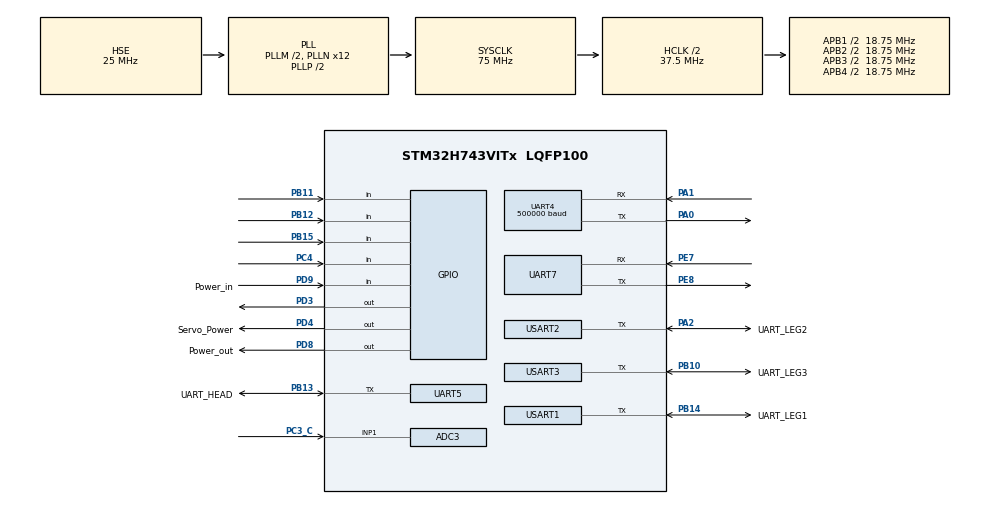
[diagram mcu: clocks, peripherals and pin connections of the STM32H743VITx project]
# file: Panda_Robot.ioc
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ADC3.Channel-7\#ChannelRegularConversion=ADC_CHANNEL_1
ADC3.ContinuousConvMode=ENABLE
ADC3.NbrOfConversionFlag=1
ADC3.OffsetNumber-7\#ChannelRegularConversion=ADC_OFFSET_NONE
ADC3.OffsetSignedSaturation-7\#ChannelRegularConversion=DISABLE
ADC3.Rank-7\#ChannelRegularConversion=1
ADC3.SamplingTime-7\#ChannelRegularConversion=ADC_SAMPLETIME_1CYCLE_5
Dma.Request0=USART3_RX
Dma.Request1=UART4_RX
Dma.Request10=UART7_RX
Dma.Request11=UART7_TX
Dma.Request2=UART4_TX
Dma.Request3=USART1_RX
Dma.Request4=USART1_TX
Dma.Request5=UART5_RX
Dma.Request6=UART5_TX
Dma.Request7=USART3_TX
Dma.Request8=USART2_RX
Dma.Request9=USART2_TX
Dma.UART4_RX.1.Direction=DMA_PERIPH_TO_MEMORY
Dma.UART4_RX.1.EventEnable=DISABLE
Dma.UART4_RX.1.FIFOMode=DMA_FIFOMODE_DISABLE
Dma.UART4_RX.1.Instance=DMA1_Stream6
Dma.UART4_RX.1.MemDataAlignment=DMA_MDATAALIGN_BYTE
Dma.UART4_RX.1.MemInc=DMA_MINC_ENABLE
Dma.UART4_RX.1.Mode=DMA_CIRCULAR
Dma.UART4_RX.1.PeriphDataAlignment=DMA_PDATAALIGN_BYTE
Dma.UART4_RX.1.PeriphInc=DMA_PINC_DISABLE
Dma.UART4_RX.1.Polarity=HAL_DMAMUX_REQ_GEN_RISING
Dma.UART4_RX.1.Priority=DMA_PRIORITY_LOW
Dma.UART4_RX.1.RequestNumber=1
Dma.UART4_RX.1.SignalID=NONE
Dma.UART4_RX.1.SyncEnable=DISABLE
Dma.UART4_RX.1.SyncPolarity=HAL_DMAMUX_SYNC_NO_EVENT
Dma.UART4_RX.1.SyncRequestNumber=1
Dma.UART4_RX.1.SyncSignalID=NONE
Dma.UART4_TX.2.Direction=DMA_MEMORY_TO_PERIPH
Dma.UART4_TX.2.EventEnable=DISABLE
Dma.UART4_TX.2.FIFOMode=DMA_FIFOMODE_DISABLE
Dma.UART4_TX.2.Instance=DMA1_Stream7
Dma.UART4_TX.2.MemDataAlignment=DMA_MDATAALIGN_BYTE
Dma.UART4_TX.2.MemInc=DMA_MINC_ENABLE
Dma.UART4_TX.2.Mode=DMA_NORMAL
Dma.UART4_TX.2.PeriphDataAlignment=DMA_PDATAALIGN_BYTE
Dma.UART4_TX.2.PeriphInc=DMA_PINC_DISABLE
Dma.UART4_TX.2.Polarity=HAL_DMAMUX_REQ_GEN_RISING
Dma.UART4_TX.2.Priority=DMA_PRIORITY_LOW
Dma.UART4_TX.2.RequestNumber=1
Dma.UART4_TX.2.SignalID=NONE
Dma.UART4_TX.2.SyncEnable=DISABLE
Dma.UART4_TX.2.SyncPolarity=HAL_DMAMUX_SYNC_NO_EVENT
Dma.UART4_TX.2.SyncRequestNumber=1
Dma.UART4_TX.2.SyncSignalID=NONE
Dma.UART5_RX.5.Direction=DMA_PERIPH_TO_MEMORY
Dma.UART5_RX.5.EventEnable=DISABLE
Dma.UART5_RX.5.FIFOMode=DMA_FIFOMODE_DISABLE
Dma.UART5_RX.5.Instance=DMA2_Stream0
Dma.UART5_RX.5.MemDataAlignment=DMA_MDATAALIGN_BYTE
Dma.UART5_RX.5.MemInc=DMA_MINC_ENABLE
Dma.UART5_RX.5.Mode=DMA_CIRCULAR
Dma.UART5_RX.5.PeriphDataAlignment=DMA_PDATAALIGN_BYTE
Dma.UART5_RX.5.PeriphInc=DMA_PINC_DISABLE
Dma.UART5_RX.5.Polarity=HAL_DMAMUX_REQ_GEN_RISING
Dma.UART5_RX.5.Priority=DMA_PRIORITY_LOW
Dma.UART5_RX.5.RequestNumber=1
Dma.UART5_RX.5.SignalID=NONE
Dma.UART5_RX.5.SyncEnable=DISABLE
Dma.UART5_RX.5.SyncPolarity=HAL_DMAMUX_SYNC_NO_EVENT
Dma.UART5_RX.5.SyncRequestNumber=1
Dma.UART5_RX.5.SyncSignalID=NONE
Dma.UART5_TX.6.Direction=DMA_MEMORY_TO_PERIPH
Dma.UART5_TX.6.EventEnable=DISABLE
Dma.UART5_TX.6.FIFOMode=DMA_FIFOMODE_DISABLE
Dma.UART5_TX.6.Instance=DMA2_Stream1
Dma.UART5_TX.6.MemDataAlignment=DMA_MDATAALIGN_BYTE
Dma.UART5_TX.6.MemInc=DMA_MINC_ENABLE
Dma.UART5_TX.6.Mode=DMA_NORMAL
Dma.UART5_TX.6.PeriphDataAlignment=DMA_PDATAALIGN_BYTE
Dma.UART5_TX.6.PeriphInc=DMA_PINC_DISABLE
Dma.UART5_TX.6.Polarity=HAL_DMAMUX_REQ_GEN_RISING
Dma.UART5_TX.6.Priority=DMA_PRIORITY_LOW
Dma.UART5_TX.6.RequestNumber=1
Dma.UART5_TX.6.SignalID=NONE
Dma.UART5_TX.6.SyncEnable=DISABLE
Dma.UART5_TX.6.SyncPolarity=HAL_DMAMUX_SYNC_NO_EVENT
Dma.UART5_TX.6.SyncRequestNumber=1
Dma.UART5_TX.6.SyncSignalID=NONE
Dma.UART7_RX.10.Direction=DMA_PERIPH_TO_MEMORY
Dma.UART7_RX.10.EventEnable=DISABLE
Dma.UART7_RX.10.FIFOMode=DMA_FIFOMODE_DISABLE
Dma.UART7_RX.10.Instance=DMA2_Stream2
Dma.UART7_RX.10.MemDataAlignment=DMA_MDATAALIGN_BYTE
Dma.UART7_RX.10.MemInc=DMA_MINC_ENABLE
Dma.UART7_RX.10.Mode=DMA_NORMAL
Dma.UART7_RX.10.PeriphDataAlignment=DMA_PDATAALIGN_BYTE
Dma.UART7_RX.10.PeriphInc=DMA_PINC_DISABLE
Dma.UART7_RX.10.Polarity=HAL_DMAMUX_REQ_GEN_RISING
Dma.UART7_RX.10.Priority=DMA_PRIORITY_LOW
Dma.UART7_RX.10.RequestNumber=1
Dma.UART7_RX.10.SignalID=NONE
Dma.UART7_RX.10.SyncEnable=DISABLE
Dma.UART7_RX.10.SyncPolarity=HAL_DMAMUX_SYNC_NO_EVENT
Dma.UART7_RX.10.SyncRequestNumber=1
Dma.UART7_RX.10.SyncSignalID=NONE
Dma.UART7_TX.11.Direction=DMA_MEMORY_TO_PERIPH
Dma.UART7_TX.11.EventEnable=DISABLE
Dma.UART7_TX.11.FIFOMode=DMA_FIFOMODE_DISABLE
Dma.UART7_TX.11.Instance=DMA2_Stream3
Dma.UART7_TX.11.MemDataAlignment=DMA_MDATAALIGN_BYTE
Dma.UART7_TX.11.MemInc=DMA_MINC_ENABLE
Dma.UART7_TX.11.Mode=DMA_NORMAL
Dma.UART7_TX.11.PeriphDataAlignment=DMA_PDATAALIGN_BYTE
Dma.UART7_TX.11.PeriphInc=DMA_PINC_DISABLE
Dma.UART7_TX.11.Polarity=HAL_DMAMUX_REQ_GEN_RISING
Dma.UART7_TX.11.Priority=DMA_PRIORITY_LOW
Dma.UART7_TX.11.RequestNumber=1
Dma.UART7_TX.11.SignalID=NONE
Dma.UART7_TX.11.SyncEnable=DISABLE
Dma.UART7_TX.11.SyncPolarity=HAL_DMAMUX_SYNC_NO_EVENT
Dma.UART7_TX.11.SyncRequestNumber=1
Dma.UART7_TX.11.SyncSignalID=NONE
Dma.USART1_RX.3.Direction=DMA_PERIPH_TO_MEMORY
Dma.USART1_RX.3.EventEnable=DISABLE
Dma.USART1_RX.3.FIFOMode=DMA_FIFOMODE_DISABLE
Dma.USART1_RX.3.Instance=DMA1_Stream0
Dma.USART1_RX.3.MemDataAlignment=DMA_MDATAALIGN_BYTE
Dma.USART1_RX.3.MemInc=DMA_MINC_ENABLE
Dma.USART1_RX.3.Mode=DMA_CIRCULAR
Dma.USART1_RX.3.PeriphDataAlignment=DMA_PDATAALIGN_BYTE
Dma.USART1_RX.3.PeriphInc=DMA_PINC_DISABLE
Dma.USART1_RX.3.Polarity=HAL_DMAMUX_REQ_GEN_RISING
Dma.USART1_RX.3.Priority=DMA_PRIORITY_LOW
Dma.USART1_RX.3.RequestNumber=1
Dma.USART1_RX.3.SignalID=NONE
Dma.USART1_RX.3.SyncEnable=DISABLE
Dma.USART1_RX.3.SyncPolarity=HAL_DMAMUX_SYNC_NO_EVENT
Dma.USART1_RX.3.SyncRequestNumber=1
Dma.USART1_RX.3.SyncSignalID=NONE
Dma.USART1_TX.4.Direction=DMA_MEMORY_TO_PERIPH
Dma.USART1_TX.4.EventEnable=DISABLE
Dma.USART1_TX.4.FIFOMode=DMA_FIFOMODE_DISABLE
Dma.USART1_TX.4.Instance=DMA1_Stream1
Dma.USART1_TX.4.MemDataAlignment=DMA_MDATAALIGN_BYTE
Dma.USART1_TX.4.MemInc=DMA_MINC_ENABLE
Dma.USART1_TX.4.Mode=DMA_NORMAL
Dma.USART1_TX.4.PeriphDataAlignment=DMA_PDATAALIGN_BYTE
Dma.USART1_TX.4.PeriphInc=DMA_PINC_DISABLE
Dma.USART1_TX.4.Polarity=HAL_DMAMUX_REQ_GEN_RISING
Dma.USART1_TX.4.Priority=DMA_PRIORITY_LOW
Dma.USART1_TX.4.RequestNumber=1
Dma.USART1_TX.4.SignalID=NONE
Dma.USART1_TX.4.SyncEnable=DISABLE
Dma.USART1_TX.4.SyncPolarity=HAL_DMAMUX_SYNC_NO_EVENT
Dma.USART1_TX.4.SyncRequestNumber=1
Dma.USART1_TX.4.SyncSignalID=NONE
Dma.USART2_RX.8.Direction=DMA_PERIPH_TO_MEMORY
Dma.USART2_RX.8.EventEnable=DISABLE
Dma.USART2_RX.8.FIFOMode=DMA_FIFOMODE_DISABLE
Dma.USART2_RX.8.Instance=DMA1_Stream2
Dma.USART2_RX.8.MemDataAlignment=DMA_MDATAALIGN_BYTE
Dma.USART2_RX.8.MemInc=DMA_MINC_ENABLE
Dma.USART2_RX.8.Mode=DMA_CIRCULAR
Dma.USART2_RX.8.PeriphDataAlignment=DMA_PDATAALIGN_BYTE
Dma.USART2_RX.8.PeriphInc=DMA_PINC_DISABLE
Dma.USART2_RX.8.Polarity=HAL_DMAMUX_REQ_GEN_RISING
Dma.USART2_RX.8.Priority=DMA_PRIORITY_LOW
Dma.USART2_RX.8.RequestNumber=1
Dma.USART2_RX.8.SignalID=NONE
Dma.USART2_RX.8.SyncEnable=DISABLE
Dma.USART2_RX.8.SyncPolarity=HAL_DMAMUX_SYNC_NO_EVENT
Dma.USART2_RX.8.SyncRequestNumber=1
Dma.USART2_RX.8.SyncSignalID=NONE
Dma.USART2_TX.9.Direction=DMA_MEMORY_TO_PERIPH
Dma.USART2_TX.9.EventEnable=DISABLE
Dma.USART2_TX.9.FIFOMode=DMA_FIFOMODE_DISABLE
Dma.USART2_TX.9.Instance=DMA1_Stream3
Dma.USART2_TX.9.MemDataAlignment=DMA_MDATAALIGN_BYTE
Dma.USART2_TX.9.MemInc=DMA_MINC_ENABLE
Dma.USART2_TX.9.Mode=DMA_NORMAL
Dma.USART2_TX.9.PeriphDataAlignment=DMA_PDATAALIGN_BYTE
Dma.USART2_TX.9.PeriphInc=DMA_PINC_DISABLE
Dma.USART2_TX.9.Polarity=HAL_DMAMUX_REQ_GEN_RISING
Dma.USART2_TX.9.Priority=DMA_PRIORITY_LOW
Dma.USART2_TX.9.RequestNumber=1
Dma.USART2_TX.9.SignalID=NONE
Dma.USART2_TX.9.SyncEnable=DISABLE
Dma.USART2_TX.9.SyncPolarity=HAL_DMAMUX_SYNC_NO_EVENT
Dma.USART2_TX.9.SyncRequestNumber=1
Dma.USART2_TX.9.SyncSignalID=NONE
Dma.USART3_RX.0.Direction=DMA_PERIPH_TO_MEMORY
Dma.USART3_RX.0.EventEnable=DISABLE
Dma.USART3_RX.0.FIFOMode=DMA_FIFOMODE_DISABLE
Dma.USART3_RX.0.Instance=DMA1_Stream4
Dma.USART3_RX.0.MemDataAlignment=DMA_MDATAALIGN_BYTE
Dma.USART3_RX.0.MemInc=DMA_MINC_ENABLE
Dma.USART3_RX.0.Mode=DMA_CIRCULAR
Dma.USART3_RX.0.PeriphDataAlignment=DMA_PDATAALIGN_BYTE
Dma.USART3_RX.0.PeriphInc=DMA_PINC_DISABLE
Dma.USART3_RX.0.Polarity=HAL_DMAMUX_REQ_GEN_RISING
Dma.USART3_RX.0.Priority=DMA_PRIORITY_LOW
Dma.USART3_RX.0.RequestNumber=1
Dma.USART3_RX.0.SignalID=NONE
Dma.USART3_RX.0.SyncEnable=DISABLE
Dma.USART3_RX.0.SyncPolarity=HAL_DMAMUX_SYNC_NO_EVENT
Dma.USART3_RX.0.SyncRequestNumber=1
Dma.USART3_RX.0.SyncSignalID=NONE
Dma.USART3_TX.7.Direction=DMA_MEMORY_TO_PERIPH
Dma.USART3_TX.7.EventEnable=DISABLE
Dma.USART3_TX.7.FIFOMode=DMA_FIFOMODE_DISABLE
Dma.USART3_TX.7.Instance=DMA1_Stream5
Dma.USART3_TX.7.MemDataAlignment=DMA_MDATAALIGN_BYTE
Dma.USART3_TX.7.MemInc=DMA_MINC_ENABLE
Dma.USART3_TX.7.Mode=DMA_NORMAL
Dma.USART3_TX.7.PeriphDataAlignment=DMA_PDATAALIGN_BYTE
Dma.USART3_TX.7.PeriphInc=DMA_PINC_DISABLE
Dma.USART3_TX.7.Polarity=HAL_DMAMUX_REQ_GEN_RISING
Dma.USART3_TX.7.Priority=DMA_PRIORITY_LOW
Dma.USART3_TX.7.RequestNumber=1
Dma.USART3_TX.7.SignalID=NONE
Dma.USART3_TX.7.SyncEnable=DISABLE
Dma.USART3_TX.7.SyncPolarity=HAL_DMAMUX_SYNC_NO_EVENT
Dma.USART3_TX.7.SyncRequestNumber=1
Dma.USART3_TX.7.SyncSignalID=NONE
FREERTOS.Tasks01=defaultTask,0,128,StartDefaultTask,As weak,NULL,Dynamic,NULL,NULL;TaskLow,-2,128,StartTaskLow,As weak,NULL,Dynamic,NULL,NULL;TaskMid,0,256,StartTaskMid,As weak,NULL,Dynamic,NULL,NULL;TaskHigh,3,128,StartTaskHigh,As weak,NULL,Dynamic,NULL,NULL
Mcu.Family=STM32H7
Mcu.Name=STM32H743VITx
Mcu.Package=LQFP100
NVIC.DMA1_Stream0_IRQn=true\:5\:0\:false\:false\:true\:false\:false\:true\:true
NVIC.DMA1_Stream1_IRQn=true\:5\:0\:false\:false\:true\:true\:false\:true\:true
NVIC.DMA1_Stream2_IRQn=true\:5\:0\:false\:false\:true\:true\:false\:true\:true
NVIC.DMA1_Stream3_IRQn=true\:5\:0\:false\:false\:true\:true\:false\:true\:true
NVIC.DMA1_Stream4_IRQn=true\:5\:0\:false\:false\:true\:true\:false\:true\:true
NVIC.DMA1_Stream5_IRQn=true\:5\:0\:false\:false\:true\:false\:false\:true\:true
NVIC.DMA1_Stream6_IRQn=true\:5\:0\:false\:false\:true\:true\:false\:true\:true
NVIC.DMA1_Stream7_IRQn=true\:5\:0\:false\:false\:true\:true\:false\:true\:true
NVIC.DMA2_Stream0_IRQn=true\:5\:0\:false\:false\:true\:true\:false\:true\:true
NVIC.DMA2_Stream1_IRQn=true\:5\:0\:false\:false\:true\:true\:false\:true\:true
NVIC.DMA2_Stream2_IRQn=true\:5\:0\:false\:false\:true\:true\:false\:true\:true
NVIC.DMA2_Stream3_IRQn=true\:5\:0\:false\:false\:true\:true\:false\:true\:true
NVIC.PriorityGroup=NVIC_PRIORITYGROUP_4
NVIC.TIM17_IRQn=true\:15\:0\:false\:false\:true\:false\:false\:true\:true
NVIC.TIM4_IRQn=true\:5\:0\:true\:false\:true\:true\:true\:true\:true
NVIC.TIM6_DAC_IRQn=true\:5\:0\:true\:false\:true\:true\:true\:true\:true
NVIC.TimeBase=TIM17_IRQn
NVIC.TimeBaseIP=TIM17
NVIC.UART4_IRQn=true\:5\:0\:false\:false\:true\:true\:true\:true\:true
NVIC.UART5_IRQn=true\:5\:0\:false\:false\:true\:true\:true\:true\:true
NVIC.UART7_IRQn=true\:5\:0\:false\:false\:true\:true\:true\:true\:true
NVIC.USART1_IRQn=true\:5\:0\:false\:false\:true\:true\:true\:true\:true
NVIC.USART2_IRQn=true\:5\:0\:false\:false\:true\:true\:true\:true\:true
NVIC.USART3_IRQn=true\:5\:0\:false\:false\:true\:true\:true\:true\:true
PA0.GPIO_PuPd=GPIO_PULLUP
PA0.GPIO_Speed=GPIO_SPEED_FREQ_VERY_HIGH
PA0.Mode=Asynchronous
PA0.Signal=UART4_TX
PA1.Mode=Asynchronous
PA1.Signal=UART4_RX
PA13\ (JTMS/SWDIO).Mode=Serial_Wire
PA13\ (JTMS/SWDIO).Signal=DEBUG_JTMS-SWDIO
PA14\ (JTCK/SWCLK).Mode=Serial_Wire
PA14\ (JTCK/SWCLK).Signal=DEBUG_JTCK-SWCLK
PA2.GPIO_Label=UART_LEG2
PA2.GPIO_PuPd=GPIO_PULLUP
PA2.GPIO_Speed=GPIO_SPEED_FREQ_VERY_HIGH
PA2.Mode=Half_duplex(single_wire_mode)
PA2.Signal=USART2_TX
PB10.GPIO_Label=UART_LEG3
PB10.GPIO_PuPd=GPIO_PULLUP
PB10.GPIO_Speed=GPIO_SPEED_FREQ_VERY_HIGH
PB10.Mode=Half_duplex(single_wire_mode)
PB10.Signal=USART3_TX
PB11.GPIO_Mode=GPIO_MODE_INPUT
PB11.GPIO_PuPd=GPIO_PULLUP
PB11.Signal=GPIO_Input
PB12.GPIO_PuPd=GPIO_PULLUP
PB12.Signal=GPIO_Input
PB13.GPIO_Label=UART_HEAD
PB13.GPIO_PuPd=GPIO_PULLUP
PB13.GPIO_Speed=GPIO_SPEED_FREQ_VERY_HIGH
PB13.Mode=Half_duplex(single_wire_mode)
PB13.Signal=UART5_TX
PB14.GPIO_Label=UART_LEG1
PB14.GPIO_PuPd=GPIO_PULLUP
PB14.GPIO_Speed=GPIO_SPEED_FREQ_VERY_HIGH
PB14.Mode=Half_duplex(single_wire_mode)
PB14.Signal=USART1_TX
PB15.GPIO_PuPd=GPIO_PULLUP
PB15.Signal=GPIO_Input
PC3_C.Mode=IN1-Single-Ended
PC3_C.Signal=ADC3_INP1
PC4.GPIO_PuPd=GPIO_PULLUP
PC4.Signal=GPIO_Input
PD3.GPIO_PuPd=GPIO_PULLDOWN
PD3.Signal=GPIO_Output
PD4.GPIO_Label=Servo_Power
PD4.GPIO_PuPd=GPIO_PULLUP
PD4.GPIO_Speed=GPIO_SPEED_FREQ_HIGH
PD4.Signal=GPIO_Output
PD8.GPIO_Label=Power_out
PD8.GPIO_PuPd=GPIO_PULLUP
PD8.GPIO_Speed=GPIO_SPEED_FREQ_HIGH
PD8.Signal=GPIO_Output
PD9.GPIO_Label=Power_in
PD9.GPIO_PuPd=GPIO_PULLUP
PD9.Signal=GPIO_Input
PE7.Mode=Asynchronous
PE7.Signal=UART7_RX
PE8.Mode=Asynchronous
PE8.Signal=UART7_TX
PH0-OSC_IN\ (PH0).Mode=HSE-External-Oscillator
PH0-OSC_IN\ (PH0).Signal=RCC_OSC_IN
PH1-OSC_OUT\ (PH1).Mode=HSE-External-Oscillator
PH1-OSC_OUT\ (PH1).Signal=RCC_OSC_OUT
ProjectManager.HeapSize=0x200
ProjectManager.StackSize=0x400
ProjectManager.TargetToolchain=MDK-ARM V5.32
RCC.ADCFreq_Value=75000000
RCC.APB1Freq_Value=18750000
RCC.APB2Freq_Value=18750000
RCC.APB3Freq_Value=18750000
RCC.APB4Freq_Value=18750000
RCC.CortexFreq_Value=75000000
RCC.D1PPRE=RCC_APB3_DIV2
RCC.D2PPRE1=RCC_APB1_DIV2
RCC.D2PPRE2=RCC_APB2_DIV2
RCC.D3PPRE=RCC_APB4_DIV2
RCC.DIVM1=2
RCC.DIVM2=2
RCC.DIVN1=12
RCC.DIVN2=12
RCC.HCLKFreq_Value=37500000
RCC.HPRE=RCC_HCLK_DIV2
RCC.PLL2FRACN=0
RCC.PLL3FRACN=0
RCC.PLLFRACN=0
RCC.PLLSourceVirtual=RCC_PLLSOURCE_HSE
RCC.SYSCLKFreq_VALUE=75000000
RCC.SYSCLKSource=RCC_SYSCLKSOURCE_PLLCLK
RCC.USBFreq_Value=75000000
TIM4.AutoReloadPreload=TIM_AUTORELOAD_PRELOAD_ENABLE
TIM4.Period=1000-1
TIM4.Prescaler=240-1
TIM6.AutoReloadPreload=TIM_AUTORELOAD_PRELOAD_ENABLE
TIM6.Period=20000-1
TIM6.Prescaler=2400-1
UART4.BaudRate=500000
UART5.BaudRate=500000
USART1.BaudRate=500000
USART1.FIFOMode=FIFOMODE_DISABLE
USART1.VirtualMode-Half_duplex(single_wire_mode)=VM_ASYNC
USART2.BaudRate=500000
USART2.VirtualMode-Half_duplex(single_wire_mode)=VM_ASYNC
USART3.BaudRate=500000
USART3.VirtualMode-Half_duplex(single_wire_mode)=VM_ASYNC
VP_FREERTOS_VS_CMSIS_V1.Mode=CMSIS_V1
VP_MEMORYMAP_VS_MEMORYMAP.Mode=CurAppReg
VP_SYS_VS_tim17.Mode=TIM17
VP_TIM4_VS_ClockSourceINT.Mode=Internal
VP_TIM6_VS_ClockSourceINT.Mode=Enable_Timer
board=custom

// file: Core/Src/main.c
/* USER CODE BEGIN Header */
/**
  ******************************************************************************
  * @file           : main.c
  * @brief          : Main program body
  ******************************************************************************
  * @attention
  *
  * Copyright (c) 2025 STMicroelectronics.
  * All rights reserved.
  *
  * This software is licensed under terms that can be found in the LICENSE file
  * in the root directory of this software component.
  * If no LICENSE file comes with this software, it is provided AS-IS.
  *
  ******************************************************************************
  */
/* USER CODE END Header */
#include "main.h"
#include "cmsis_os.h"
#include "adc.h"
#include "dma.h"
#include "memorymap.h"
#include "tim.h"
#include "usart.h"
#include "gpio.h"

/* USER CODE BEGIN Includes */
#include "user_servo.h"
#include "Action_library.h"

/* USER CODE END Includes */

void SystemClock_Config(void);
void MX_FREERTOS_Init(void);

/* USER CODE BEGIN 0 */
uint8_t usart_tx_buf[13] = {0};
uint8_t POWERON = 0;
uint8_t SHUTDOWN = 0;
int cococo = 0;
/* USER CODE END 0 */

int main(void)
{

  /* MCU Configuration--------------------------------------------------------*/

  /* Reset of all peripherals, Initializes the Flash interface and the Systick. */
  HAL_Init();

  /* Configure the system clock */
  SystemClock_Config();

  /* Initialize all configured peripherals */
  MX_GPIO_Init();
  MX_DMA_Init();
  MX_UART4_Init();
  MX_USART3_UART_Init();
  MX_UART5_Init();
  MX_TIM4_Init();
  MX_USART1_UART_Init();
  MX_TIM6_Init();
  MX_USART2_UART_Init();
  MX_ADC3_Init();
  MX_UART7_Init();
  /* USER CODE BEGIN 2 */
  HAL_Delay(1500);
  //读取引脚状态，判定开机
  if (HAL_GPIO_ReadPin(Power_in_GPIO_Port, Power_in_Pin) == GPIO_PIN_RESET)
  {
	  HAL_GPIO_WritePin(Power_out_GPIO_Port,Power_out_Pin,GPIO_PIN_SET);//板子供电
	  POWERON = 1;
  }
  //while(HAL_GPIO_ReadPin(Power_in_GPIO_Port, Power_in_Pin) != GPIO_PIN_SET);
  HAL_Delay(500);
  HAL_GPIO_WritePin(GPIOD,GPIO_PIN_3,GPIO_PIN_SET);//舵机供电
  HAL_GPIO_WritePin(Servo_Power_GPIO_Port,Servo_Power_Pin,GPIO_PIN_SET);//舵机供电
  HAL_Delay(2500);//等待舵机上电
  //User_ServoInit();
  cococo = 1;

  /* USER CODE END 2 */

  /* Call init function for freertos objects (in cmsis_os2.c) */
  MX_FREERTOS_Init();

  /* Start scheduler */
  osKernelStart();

  /* We should never get here as control is now taken by the scheduler */

  /* Infinite loop */
  while (1)
  {

    /* USER CODE BEGIN 3 */

	//FEETECH_ReadServoPos(cococo);
//	 Action_Teachmode();
//	 if (HAL_GPIO_ReadPin(Power_in_GPIO_Port, Power_in_Pin) == GPIO_PIN_RESET)
//	{
//		cococo++;
//		if(cococo > 5)
//			HAL_GPIO_WritePin(Power_out_GPIO_Port,Power_out_Pin,GPIO_PIN_RESET);//板子供电
//	}
//	else if(cococo>0)
//		cococo--;

	HAL_Delay(1);
  }
  /* USER CODE END 3 */
}

void SystemClock_Config(void)
{
  RCC_OscInitTypeDef RCC_OscInitStruct = {0};
  RCC_ClkInitTypeDef RCC_ClkInitStruct = {0};

  /** Supply configuration update enable
  */
  HAL_PWREx_ConfigSupply(PWR_LDO_SUPPLY);

  /** Configure the main internal regulator output voltage
  */
  __HAL_PWR_VOLTAGESCALING_CONFIG(PWR_REGULATOR_VOLTAGE_SCALE3);

  while(!__HAL_PWR_GET_FLAG(PWR_FLAG_VOSRDY)) {}

  /** Initializes the RCC Oscillators according to the specified parameters
  * in the RCC_OscInitTypeDef structure.
  */
  RCC_OscInitStruct.OscillatorType = RCC_OSCILLATORTYPE_HSE;
  RCC_OscInitStruct.HSEState = RCC_HSE_ON;
  RCC_OscInitStruct.PLL.PLLState = RCC_PLL_ON;
  RCC_OscInitStruct.PLL.PLLSource = RCC_PLLSOURCE_HSE;
  RCC_OscInitStruct.PLL.PLLM = 2;
  RCC_OscInitStruct.PLL.PLLN = 12;
  RCC_OscInitStruct.PLL.PLLP = 2;
  RCC_OscInitStruct.PLL.PLLQ = 2;
  RCC_OscInitStruct.PLL.PLLR = 2;
  RCC_OscInitStruct.PLL.PLLRGE = RCC_PLL1VCIRANGE_3;
  RCC_OscInitStruct.PLL.PLLVCOSEL = RCC_PLL1VCOMEDIUM;
  RCC_OscInitStruct.PLL.PLLFRACN = 0;
  if (HAL_RCC_OscConfig(&RCC_OscInitStruct) != HAL_OK)
  {
    Error_Handler();
  }

  /** Initializes the CPU, AHB and APB buses clocks
  */
  RCC_ClkInitStruct.ClockType = RCC_CLOCKTYPE_HCLK|RCC_CLOCKTYPE_SYSCLK
                              |RCC_CLOCKTYPE_PCLK1|RCC_CLOCKTYPE_PCLK2
                              |RCC_CLOCKTYPE_D3PCLK1|RCC_CLOCKTYPE_D1PCLK1;
  RCC_ClkInitStruct.SYSCLKSource = RCC_SYSCLKSOURCE_PLLCLK;
  RCC_ClkInitStruct.SYSCLKDivider = RCC_SYSCLK_DIV1;
  RCC_ClkInitStruct.AHBCLKDivider = RCC_HCLK_DIV2;
  RCC_ClkInitStruct.APB3CLKDivider = RCC_APB3_DIV2;
  RCC_ClkInitStruct.APB1CLKDivider = RCC_APB1_DIV2;
  RCC_ClkInitStruct.APB2CLKDivider = RCC_APB2_DIV2;
  RCC_ClkInitStruct.APB4CLKDivider = RCC_APB4_DIV2;

  if (HAL_RCC_ClockConfig(&RCC_ClkInitStruct, FLASH_LATENCY_0) != HAL_OK)
  {
    Error_Handler();
  }
}

void HAL_TIM_PeriodElapsedCallback(TIM_HandleTypeDef *htim)
{
  if (htim->Instance == TIM17) {
    HAL_IncTick();
  }
}

void Error_Handler(void)
{
  __disable_irq();
  while (1)
  {
  }
}

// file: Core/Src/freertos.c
/* USER CODE BEGIN Header */
/**
  ******************************************************************************
  * File Name          : freertos.c
  * Description        : Code for freertos applications
  ******************************************************************************
  * @attention
  *
  * Copyright (c) 2025 STMicroelectronics.
  * All rights reserved.
  *
  * This software is licensed under terms that can be found in the LICENSE file
  * in the root directory of this software component.
  * If no LICENSE file comes with this software, it is provided AS-IS.
  *
  ******************************************************************************
  */
/* USER CODE END Header */

#include "FreeRTOS.h"
#include "task.h"
#include "main.h"
#include "cmsis_os.h"

osThreadId defaultTaskHandle;
osThreadId TaskLowHandle;
osThreadId TaskMidHandle;
osThreadId TaskHighHandle;

void StartDefaultTask(void const * argument);
void StartTaskLow(void const * argument);
void StartTaskMid(void const * argument);
void StartTaskHigh(void const * argument);

void MX_FREERTOS_Init(void); /* (MISRA C 2004 rule 8.1) */

/* GetIdleTaskMemory prototype (linked to static allocation support) */
void vApplicationGetIdleTaskMemory( StaticTask_t **ppxIdleTaskTCBBuffer, StackType_t **ppxIdleTaskStackBuffer, uint32_t *pulIdleTaskStackSize );

/* USER CODE BEGIN GET_IDLE_TASK_MEMORY */
static StaticTask_t xIdleTaskTCBBuffer;
static StackType_t xIdleStack[configMINIMAL_STACK_SIZE];

void vApplicationGetIdleTaskMemory( StaticTask_t **ppxIdleTaskTCBBuffer, StackType_t **ppxIdleTaskStackBuffer, uint32_t *pulIdleTaskStackSize )
{
  *ppxIdleTaskTCBBuffer = &xIdleTaskTCBBuffer;
  *ppxIdleTaskStackBuffer = &xIdleStack[0];
  *pulIdleTaskStackSize = configMINIMAL_STACK_SIZE;
  /* place for user code */
}
/* USER CODE END GET_IDLE_TASK_MEMORY */

void MX_FREERTOS_Init(void) {

  /* Create the thread(s) */
  /* definition and creation of defaultTask */
  osThreadDef(defaultTask, StartDefaultTask, osPriorityNormal, 0, 128);
  defaultTaskHandle = osThreadCreate(osThread(defaultTask), NULL);

  /* definition and creation of TaskLow */
  osThreadDef(TaskLow, StartTaskLow, osPriorityLow, 0, 128);
  TaskLowHandle = osThreadCreate(osThread(TaskLow), NULL);

  /* definition and creation of TaskMid */
  osThreadDef(TaskMid, StartTaskMid, osPriorityNormal, 0, 256);
  TaskMidHandle = osThreadCreate(osThread(TaskMid), NULL);

  /* definition and creation of TaskHigh */
  osThreadDef(TaskHigh, StartTaskHigh, osPriorityRealtime, 0, 128);
  TaskHighHandle = osThreadCreate(osThread(TaskHigh), NULL);

}

__weak void StartDefaultTask(void const * argument)
{
  for(;;)
  {
    osDelay(1);
  }
}

__weak void StartTaskLow(void const * argument)
{
  for(;;)
  {
    osDelay(1);
  }
}

__weak void StartTaskMid(void const * argument)
{
  for(;;)
  {
    osDelay(1);
  }
}

__weak void StartTaskHigh(void const * argument)
{
  for(;;)
  {
    osDelay(1);
  }
}
